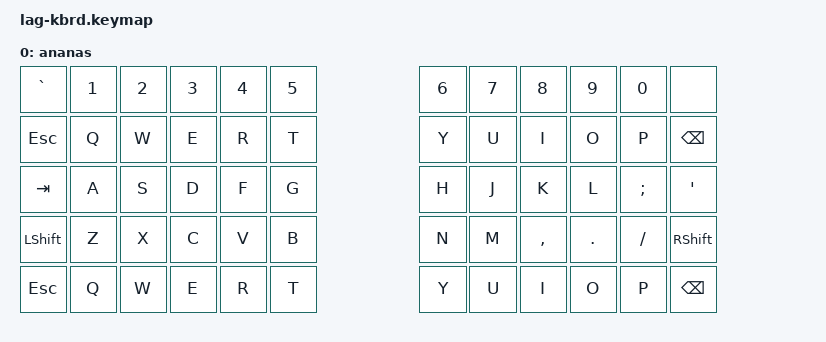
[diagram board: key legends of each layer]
#include <behaviors.dtsi>
#include <dt-bindings/zmk/keys.h>

/ {

    keymap {
        compatible = "zmk,keymap";

        default_layer {
            display-name = "ananas";
            bindings = <
&kp GRAVE &kp N1 &kp N2   &kp N3   &kp N4    &kp N5                           &kp N6 &kp N7    &kp N8    &kp N9   &kp N0   &none
&kp ESC   &kp Q  &kp W    &kp E    &kp R     &kp T                            &kp Y  &kp U     &kp I     &kp O    &kp P    &kp BSPC
&kp TAB   &kp A  &kp S    &kp D    &kp F     &kp G                            &kp H  &kp J     &kp K     &kp L    &kp SEMI &kp SQT
&kp LSHFT &kp Z  &kp X    &kp C    &kp V     &kp B                            &kp N  &kp M     &kp COMMA &kp DOT  &kp FSLH &kp RSHFT
&kp ESC   &kp Q  &kp W    &kp E    &kp R     &kp T                            &kp Y  &kp U     &kp I     &kp O    &kp P    &kp BSPC
            >;
        };
    };
};
